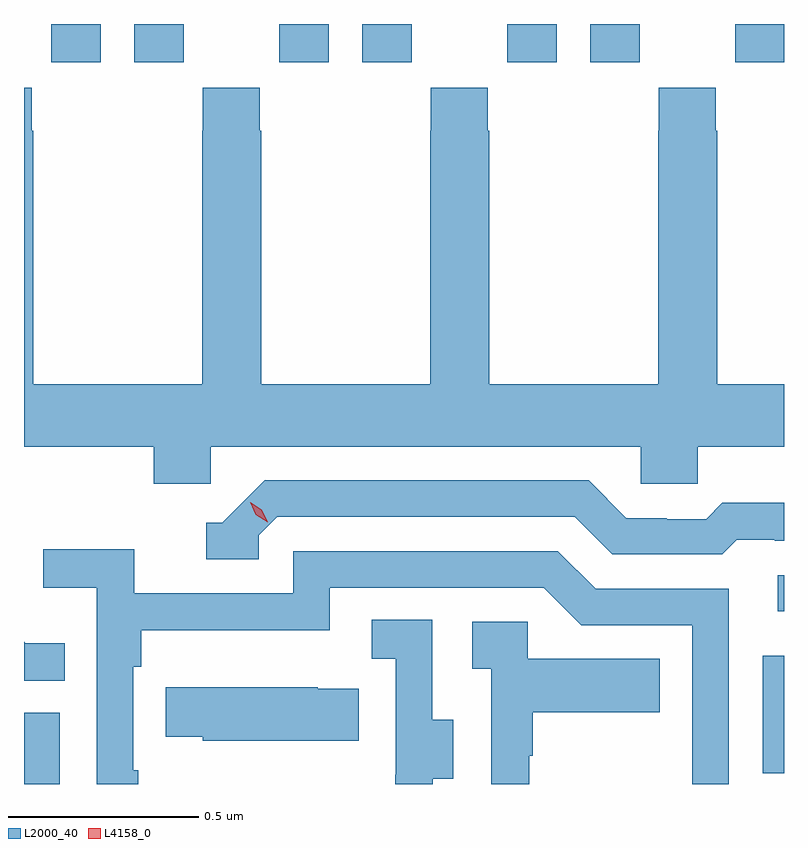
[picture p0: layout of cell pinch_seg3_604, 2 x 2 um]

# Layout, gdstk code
import gdstk
lib = gdstk.Library(unit=1e-6, precision=1e-09)
def R(c, l, rs):  # rectangles x0, y0, x1, y1
    for r in rs: c.add(gdstk.rectangle(r[:2], r[2:], *l))
def P(c, l, *ps):  # polygons
    for p in ps: c.add(gdstk.Polygon(p, *l))
L2000_40 = (2000, 40)
L4158_0 = (4158, 0)

pinch_seg3_604 = lib.new_cell('pinch_seg3_604')
R(pinch_seg3_604, L2000_40, [(1077.606,692.036,1077.7,692.223), (1079.55,692.064,1079.606,692.374), (1079.589,692.49,1079.606,692.586), (1077.678,693.936,1077.808,694.036), (1077.896,693.936,1078.026,694.036), (1078.278,693.936,1078.408,694.036), (1078.496,693.936,1078.626,694.036), (1078.878,693.936,1079.008,694.036), (1079.096,693.936,1079.226,694.036), (1079.478,693.936,1079.606,694.036)])
P(pinch_seg3_604, L2000_40, [(1078.098,692.924),(1079.229,692.924),(1079.229,692.826),(1079.379,692.826),(1079.379,692.924),(1079.606,692.924),(1079.606,693.088),(1079.43,693.088),(1079.43,693.755),(1079.427,693.755),(1079.427,693.868),(1079.277,693.868),(1079.277,693.755),(1079.275,693.755),(1079.275,693.088),(1078.83,693.088),(1078.83,693.755),(1078.827,693.755),(1078.827,693.868),(1078.677,693.868),(1078.677,693.755),(1078.675,693.755),(1078.675,693.088),(1078.23,693.088),(1078.23,693.755),(1078.227,693.755),(1078.227,693.868),(1078.077,693.868),(1078.077,693.755),(1078.075,693.755),(1078.075,693.088),(1077.63,693.088),(1077.63,693.755),(1077.627,693.755),(1077.627,693.868),(1077.606,693.868),(1077.606,692.924),(1077.947,692.924),(1077.947,692.826),(1078.098,692.826)],
  [(1078.224,692.691),(1078.272,692.739),(1079.055,692.739),(1079.154,692.64),(1079.443,692.64),(1079.482,692.679),(1079.581,692.679),(1079.581,692.676),(1079.606,692.676),(1079.606,692.776),(1079.443,692.776),(1079.401,692.733),(1079.298,692.733),(1079.298,692.736),(1079.191,692.736),(1079.092,692.835),(1078.239,692.835),(1078.128,692.724),(1078.085,692.724),(1078.085,692.628),(1078.224,692.628)],
  [(1077.907,692.072),(1077.894,692.072),(1077.894,692.345),(1077.914,692.345),(1077.914,692.441),(1078.41,692.441),(1078.41,692.553),(1078.974,692.553),(1079.073,692.454),(1079.364,692.454),(1079.364,692.036),(1079.46,692.036),(1079.46,692.55),(1079.11,692.55),(1079.011,692.649),(1078.314,692.649),(1078.314,692.538),(1077.896,692.538),(1077.896,692.654),(1077.657,692.654),(1077.657,692.552),(1077.798,692.552),(1077.798,692.036),(1077.907,692.036)],
  [(1078.681,692.05),(1078.735,692.05),(1078.735,692.205),(1078.68,692.205),(1078.68,692.468),(1078.521,692.468),(1078.521,692.365),(1078.584,692.365),(1078.584,692.061),(1078.583,692.061),(1078.583,692.036),(1078.681,692.036)],
  [(1078.935,692.111),(1078.945,692.111),(1078.945,692.225),(1079.279,692.225),(1079.279,692.365),(1078.932,692.365),(1078.932,692.463),(1078.785,692.463),(1078.785,692.339),(1078.836,692.339),(1078.836,692.036),(1078.935,692.036)],
  [(1077.713,692.407),(1077.609,692.407),(1077.606,692.41),(1077.606,692.308),(1077.713,692.308)],
  [(1078.487,692.287),(1078.379,692.287),(1078.379,692.29),(1077.979,692.29),(1077.979,692.161),(1078.077,692.161),(1078.077,692.15),(1078.487,692.15)])
P(pinch_seg3_604, L4158_0, [(1078.247,692.725),(1078.216,692.744),(1078.201,692.777),(1078.201,692.777),(1078.201,692.777),(1078.232,692.758),(1078.247,692.725),(1078.247,692.725)])

lib.write_gds('pinch_seg3_604.gds')
